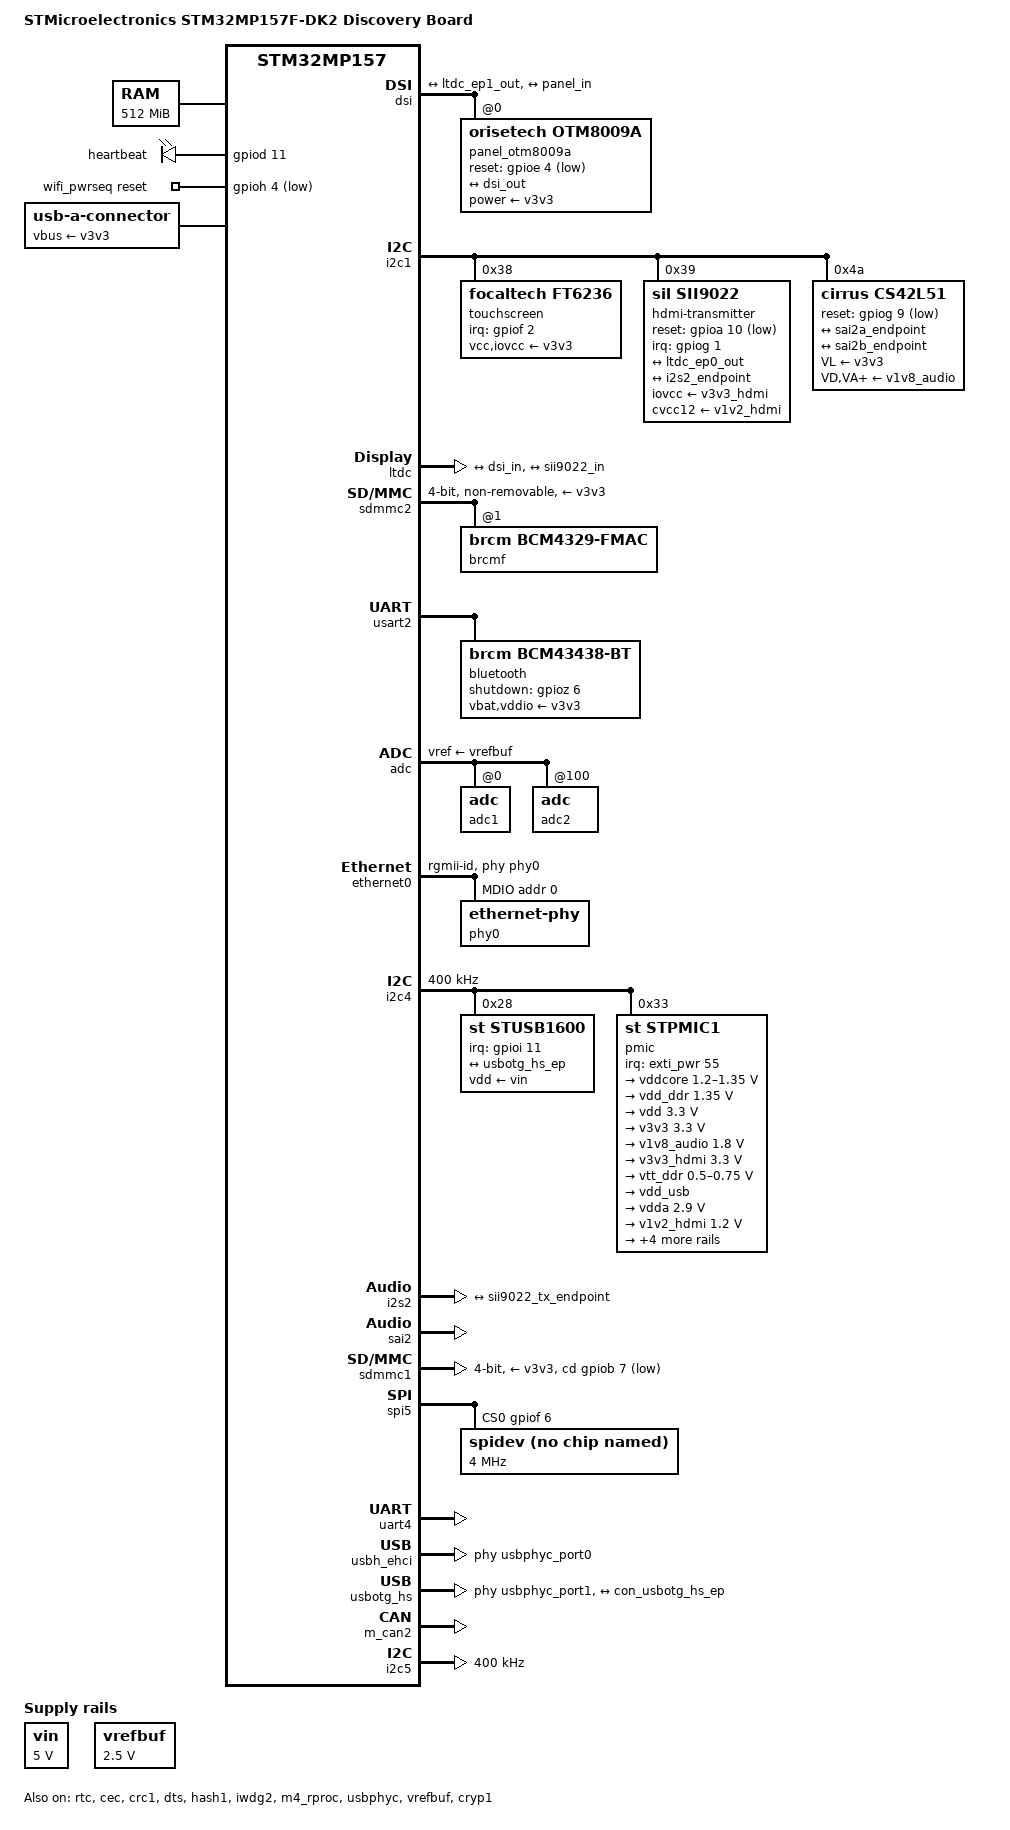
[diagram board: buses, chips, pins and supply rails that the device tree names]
// SPDX-License-Identifier: (GPL-2.0+ OR BSD-3-Clause)
/*
 * Copyright (C) STMicroelectronics 2019 - All Rights Reserved
 * Author: Alexandre Torgue <alexandre.torgue@st.com> for STMicroelectronics.
 */

/dts-v1/;

#include "stm32mp157.dtsi"
#include "stm32mp15-pinctrl-bfh.dtsi"

#include "stm32mp15-m4-srm.dtsi"
#include "stm32mp15-m4-srm-pinctrl.dtsi"

#include <dt-bindings/gpio/gpio.h>
#include <dt-bindings/mfd/st,stpmic1.h>
#include <dt-bindings/rtc/rtc-stm32.h>

/ {
	model = "STMicroelectronics STM32MP157F-DK2 Discovery Board";
	compatible = "st,stm32mp157f-dk2", "st,stm32mp157";

	soc {
		cryp1: cryp@54001000 {
			compatible = "st,stm32mp1-cryp";
			reg = <0x54001000 0x400>;
			interrupts = <GIC_SPI 79 IRQ_TYPE_LEVEL_HIGH>;
			clocks = <&scmi_clk CK_SCMI_CRYP1>;
			resets = <&scmi_reset RST_SCMI_CRYP1>;
			status = "disabled";
		};
	};

	aliases {
		ethernet0 = &ethernet0;
		serial0 = &uart4;
		serial1 = &usart3;
		serial2 = &uart7;
		serial3 = &usart2;
	};

	memory@c0000000 {
		device_type = "memory";
		reg = <0xc0000000 0x20000000>;
	};

	reserved-memory {
		#address-cells = <1>;
		#size-cells = <1>;
		ranges;

		mcuram2: mcuram2@10000000 {
			compatible = "shared-dma-pool";
			reg = <0x10000000 0x40000>;
			no-map;
		};

		vdev0vring0: vdev0vring0@10040000 {
			compatible = "shared-dma-pool";
			reg = <0x10040000 0x1000>;
			no-map;
		};

		vdev0vring1: vdev0vring1@10041000 {
			compatible = "shared-dma-pool";
			reg = <0x10041000 0x1000>;
			no-map;
		};

		vdev0buffer: vdev0buffer@10042000 {
			compatible = "shared-dma-pool";
			reg = <0x10042000 0x4000>;
			no-map;
		};

		mcu_rsc_table: mcu_rsc_table@10048000 {
			compatible = "shared-dma-pool";
			reg = <0x10048000 0x8000>;
			no-map;
		};

		mcuram: mcuram@30000000 {
			compatible = "shared-dma-pool";
			reg = <0x30000000 0x40000>;
			no-map;
		};

		retram: retram@38000000 {
			compatible = "shared-dma-pool";
			reg = <0x38000000 0x10000>;
			no-map;
		};

		gpu_reserved: gpu@d4000000 {
			reg = <0xd4000000 0x4000000>;
			no-map;
		};

		optee@de000000 {
			reg = <0xde000000 0x2000000>;
			no-map;
		};
	};

	led {
		compatible = "gpio-leds";
		led-blue {
			label = "heartbeat";
			gpios = <&gpiod 11 GPIO_ACTIVE_HIGH>;
			linux,default-trigger = "heartbeat";
			default-state = "off";
		};
	};

	sound: sound {
		compatible = "audio-graph-card";
		label = "STM32MP15-DK";
		routing =
			"Playback" , "MCLK",
			"Capture" , "MCLK",
			"MICL" , "Mic Bias";
		dais = <&sai2a_port &sai2b_port &i2s2_port>;
		status = "okay";
	};

	vin: vin {
		compatible = "regulator-fixed";
		regulator-name = "vin";
		regulator-min-microvolt = <5000000>;
		regulator-max-microvolt = <5000000>;
		regulator-always-on;
	};

	chosen {
		#address-cells = <1>;
		#size-cells = <1>;
		ranges;
		stdout-path = "serial0:115200n8";

		framebuffer {
			compatible = "simple-framebuffer";
			clocks = <&rcc LTDC_PX>;
			status = "disabled";
		};
	};

	wifi_pwrseq: wifi-pwrseq {
		compatible = "mmc-pwrseq-simple";
		reset-gpios = <&gpioh 4 GPIO_ACTIVE_LOW>;
	};
};

&cpu0_opp_table {
		opp-800000000 {
			opp-hz = /bits/ 64 <800000000>;
			opp-microvolt = <1350000>;
			opp-supported-hw = <0x2>;
		};
		opp-400000000 {
			opp-hz = /bits/ 64 <400000000>;
			opp-microvolt = <1200000>;
			opp-supported-hw = <0x2>;
			opp-suspend;
		};
};

&cpu_thermal {
	trips {
		cpu-crit {
			temperature = <105000>;
			hysteresis = <0>;
			type = "critical";
		};

		cpu_alert: cpu-alert {
			temperature = <95000>;
			hysteresis = <10000>;
			type = "passive";
		};
	};

	cooling-maps {
		map0 {
			trip = <&cpu_alert>;
			cooling-device = <&cpu0 1 1>;
		};
	};
};

&cryp1 {
	status = "okay";
};

&dsi {
	status = "okay";

	ports {
		port@0 {
			reg = <0>;
			dsi_in: endpoint {
				remote-endpoint = <&ltdc_ep1_out>;
			};
		};

		port@1 {
			reg = <1>;
			dsi_out: endpoint {
				remote-endpoint = <&panel_in>;
			};
		};
	};

	panel_otm8009a: panel-otm8009a@0 {
		compatible = "orisetech,otm8009a";
		reg = <0>;
		reset-gpios = <&gpioe 4 GPIO_ACTIVE_LOW>;
		power-supply = <&v3v3>;
		status = "okay";

		port {
			panel_in: endpoint {
				remote-endpoint = <&dsi_out>;
			};
		};
	};
};

&i2c1 {
	touchscreen@38 {
		compatible = "focaltech,ft6236";
		reg = <0x38>;
		interrupts = <2 2>;
		interrupt-parent = <&gpiof>;
		interrupt-controller;
		touchscreen-size-x = <480>;
		touchscreen-size-y = <800>;
		panel = <&panel_otm8009a>;
		vcc-supply = <&v3v3>;
		iovcc-supply = <&v3v3>;
		status = "okay";
	};
};

&ltdc {
	status = "okay";

	port {
		ltdc_ep1_out: endpoint@1 {
			reg = <1>;
			remote-endpoint = <&dsi_in>;
		};
	};
};

&rtc {
	st,lsco = <RTC_OUT2_RMP>;
	pinctrl-0 = <&rtc_out2_rmp_pins_a>;
	pinctrl-names = "default";
};

/* Wifi */
&sdmmc2 {
	arm,primecell-periphid = <0x10153180>;
	pinctrl-names = "default", "opendrain", "sleep";
	pinctrl-0 = <&sdmmc2_b4_pins_a>;
	pinctrl-1 = <&sdmmc2_b4_od_pins_a>;
	pinctrl-2 = <&sdmmc2_b4_sleep_pins_a>;
	non-removable;
	st,neg-edge;
	bus-width = <4>;
	vmmc-supply = <&v3v3>;
	mmc-pwrseq = <&wifi_pwrseq>;
	#address-cells = <1>;
	#size-cells = <0>;
	status = "okay";

	brcmf: bcrmf@1 {
		reg = <1>;
		compatible = "brcm,bcm4329-fmac";
	};
};

/* Bluetooth */
&usart2 {
	pinctrl-names = "default", "sleep", "idle";
	pinctrl-0 = <&usart2_pins_c>;
	pinctrl-1 = <&usart2_sleep_pins_c>;
	pinctrl-2 = <&usart2_idle_pins_c>;
	uart-has-rtscts;
	status = "okay";

	bluetooth {
		shutdown-gpios = <&gpioz 6 GPIO_ACTIVE_HIGH>;
		compatible = "brcm,bcm43438-bt";
		max-speed = <3000000>;
		vbat-supply = <&v3v3>;
		vddio-supply = <&v3v3>;
	};
};

&adc {
	pinctrl-names = "default";
	pinctrl-0 = <&adc12_usb_cc_pins_a>;
	vdd-supply = <&vdd>;
	vdda-supply = <&vdd>;
	vref-supply = <&vrefbuf>;
	status = "okay";
	adc1: adc@0 {
		/*
		 * Type-C USB_PWR_CC1 & USB_PWR_CC2 on in18 & in19.
		 * Use at least 5 * RC time, e.g. 5 * (Rp + Rd) * C:
		 * 5 * (56 + 47kOhms) * 5pF => 2.5us.
		 * Use arbitrary margin here (e.g. 5us).
		 */
		st,min-sample-time-nsecs = <5000>;
		/* USB Type-C CC1 & CC2 */
		st,adc-channels = <18 19>;
		status = "okay";
	};
	adc2: adc@100 {
		/* USB Type-C CC1 & CC2 */
		st,adc-channels = <18 19>;
		st,min-sample-time-nsecs = <5000>;
		status = "okay";
	};
};

&cec {
	pinctrl-names = "default", "sleep";
	pinctrl-0 = <&cec_pins_b>;
	pinctrl-1 = <&cec_sleep_pins_b>;
	status = "okay";
};

&cpu0{
	cpu-supply = <&vddcore>;
};

&cpu1{
	cpu-supply = <&vddcore>;
};

&crc1 {
	status = "okay";
};

&dma1 {
	sram = <&dma_pool>;
};

&dma2 {
	sram = <&dma_pool>;
};

&dts {
	status = "okay";
};

&ethernet0 {
	status = "okay";
	pinctrl-0 = <&ethernet0_rgmii_pins_a>;
	pinctrl-1 = <&ethernet0_rgmii_sleep_pins_a>;
	pinctrl-names = "default", "sleep";
	phy-mode = "rgmii-id";
	max-speed = <1000>;
	phy-handle = <&phy0>;
	nvmem-cells = <&ethernet_mac_address>;
	nvmem-cell-names = "mac-address";

	mdio0 {
		#address-cells = <1>;
		#size-cells = <0>;
		compatible = "snps,dwmac-mdio";
		phy0: ethernet-phy@0 {
			reg = <0>;
		};
	};
};

&gpu {
	contiguous-area = <&gpu_reserved>;
};

&hash1 {
	status = "okay";
};

&i2c1 {
	pinctrl-names = "default", "sleep";
	pinctrl-0 = <&i2c1_pins_a>;
	pinctrl-1 = <&i2c1_sleep_pins_a>;
	i2c-scl-rising-time-ns = <100>;
	i2c-scl-falling-time-ns = <7>;
	status = "okay";
	/delete-property/dmas;
	/delete-property/dma-names;

	hdmi-transmitter@39 {
		compatible = "sil,sii9022";
		reg = <0x39>;
		iovcc-supply = <&v3v3_hdmi>;
		cvcc12-supply = <&v1v2_hdmi>;
		reset-gpios = <&gpioa 10 GPIO_ACTIVE_LOW>;
		interrupts = <1 IRQ_TYPE_EDGE_FALLING>;
		interrupt-parent = <&gpiog>;
		#sound-dai-cells = <0>;
		status = "okay";

		ports {
			#address-cells = <1>;
			#size-cells = <0>;

			port@0 {
				reg = <0>;
				sii9022_in: endpoint {
					remote-endpoint = <&ltdc_ep0_out>;
				};
			};

			port@3 {
				reg = <3>;
				sii9022_tx_endpoint: endpoint {
					remote-endpoint = <&i2s2_endpoint>;
				};
			};
		};
	};

	cs42l51: cs42l51@4a {
		compatible = "cirrus,cs42l51";
		reg = <0x4a>;
		#sound-dai-cells = <0>;
		VL-supply = <&v3v3>;
		VD-supply = <&v1v8_audio>;
		VA-supply = <&v1v8_audio>;
		VAHP-supply = <&v1v8_audio>;
		reset-gpios = <&gpiog 9 GPIO_ACTIVE_LOW>;
		clocks = <&sai2a>;
		clock-names = "MCLK";
		status = "okay";

		cs42l51_port: port {
			#address-cells = <1>;
			#size-cells = <0>;

			cs42l51_tx_endpoint: endpoint@0 {
				reg = <0>;
				remote-endpoint = <&sai2a_endpoint>;
				frame-master = <&cs42l51_tx_endpoint>;
				bitclock-master = <&cs42l51_tx_endpoint>;
			};

			cs42l51_rx_endpoint: endpoint@1 {
				reg = <1>;
				remote-endpoint = <&sai2b_endpoint>;
				frame-master = <&cs42l51_rx_endpoint>;
				bitclock-master = <&cs42l51_rx_endpoint>;
			};
		};
	};
};

&i2c4 {
	pinctrl-names = "default", "sleep";
	pinctrl-0 = <&i2c4_pins_a>;
	pinctrl-1 = <&i2c4_sleep_pins_a>;
	i2c-scl-rising-time-ns = <185>;
	i2c-scl-falling-time-ns = <20>;
	clock-frequency = <400000>;
	status = "okay";
	/* spare dmas for other usage */
	/delete-property/dmas;
	/delete-property/dma-names;

	stusb1600@28 {
		compatible = "st,stusb1600";
		reg = <0x28>;
		interrupts = <11 IRQ_TYPE_LEVEL_LOW>;
		interrupt-parent = <&gpioi>;
		pinctrl-names = "default";
		pinctrl-0 = <&stusb1600_pins_a>;
		status = "okay";
		vdd-supply = <&vin>;

		connector {
			compatible = "usb-c-connector";
			label = "USB-C";
			power-role = "dual";
			typec-power-opmode = "default";

			port {
				con_usbotg_hs_ep: endpoint {
					remote-endpoint = <&usbotg_hs_ep>;
				};
			};
		};
	};

	pmic: stpmic@33 {
		compatible = "st,stpmic1";
		reg = <0x33>;
		interrupts-extended = <&exti_pwr 55 IRQ_TYPE_EDGE_FALLING>;
		interrupt-controller;
		#interrupt-cells = <2>;
		status = "okay";

		regulators {
			compatible = "st,stpmic1-regulators";
			buck1-supply = <&vin>;
			buck2-supply = <&vin>;
			buck3-supply = <&vin>;
			buck4-supply = <&vin>;
			ldo1-supply = <&v3v3>;
			ldo2-supply = <&vin>;
			ldo3-supply = <&vdd_ddr>;
			ldo4-supply = <&vin>;
			ldo5-supply = <&vin>;
			ldo6-supply = <&v3v3>;
			vref_ddr-supply = <&vin>;
			boost-supply = <&vin>;
			pwr_sw1-supply = <&bst_out>;
			pwr_sw2-supply = <&bst_out>;

			vddcore: buck1 {
				regulator-name = "vddcore";
				regulator-min-microvolt = <1200000>;
				regulator-max-microvolt = <1350000>;
				regulator-always-on;
				regulator-initial-mode = <0>;
				regulator-over-current-protection;
			};

			vdd_ddr: buck2 {
				regulator-name = "vdd_ddr";
				regulator-min-microvolt = <1350000>;
				regulator-max-microvolt = <1350000>;
				regulator-always-on;
				regulator-initial-mode = <0>;
				regulator-over-current-protection;
			};

			vdd: buck3 {
				regulator-name = "vdd";
				regulator-min-microvolt = <3300000>;
				regulator-max-microvolt = <3300000>;
				regulator-always-on;
				st,mask-reset;
				regulator-initial-mode = <0>;
				regulator-over-current-protection;
			};

			v3v3: buck4 {
				regulator-name = "v3v3";
				regulator-min-microvolt = <3300000>;
				regulator-max-microvolt = <3300000>;
				regulator-always-on;
				regulator-over-current-protection;
				regulator-initial-mode = <0>;
			};

			v1v8_audio: ldo1 {
				regulator-name = "v1v8_audio";
				regulator-min-microvolt = <1800000>;
				regulator-max-microvolt = <1800000>;
				regulator-always-on;
				interrupts = <IT_CURLIM_LDO1 0>;
			};

			v3v3_hdmi: ldo2 {
				regulator-name = "v3v3_hdmi";
				regulator-min-microvolt = <3300000>;
				regulator-max-microvolt = <3300000>;
				regulator-always-on;
				interrupts = <IT_CURLIM_LDO2 0>;
			};

			vtt_ddr: ldo3 {
				regulator-name = "vtt_ddr";
				regulator-min-microvolt = <500000>;
				regulator-max-microvolt = <750000>;
				regulator-always-on;
				regulator-over-current-protection;
			};

			vdd_usb: ldo4 {
				regulator-name = "vdd_usb";
				interrupts = <IT_CURLIM_LDO4 0>;
			};

			vdda: ldo5 {
				regulator-name = "vdda";
				regulator-min-microvolt = <2900000>;
				regulator-max-microvolt = <2900000>;
				interrupts = <IT_CURLIM_LDO5 0>;
				regulator-boot-on;
			};

			v1v2_hdmi: ldo6 {
				regulator-name = "v1v2_hdmi";
				regulator-min-microvolt = <1200000>;
				regulator-max-microvolt = <1200000>;
				regulator-always-on;
				interrupts = <IT_CURLIM_LDO6 0>;
			};

			vref_ddr: vref_ddr {
				regulator-name = "vref_ddr";
				regulator-always-on;
			};

			bst_out: boost {
				regulator-name = "bst_out";
				interrupts = <IT_OCP_BOOST 0>;
			};

			vbus_otg: pwr_sw1 {
				regulator-name = "vbus_otg";
				interrupts = <IT_OCP_OTG 0>;
			};

			vbus_sw: pwr_sw2 {
				regulator-name = "vbus_sw";
				interrupts = <IT_OCP_SWOUT 0>;
				regulator-active-discharge = <1>;
			};
		};

		onkey {
			compatible = "st,stpmic1-onkey";
			interrupts = <IT_PONKEY_F 0>, <IT_PONKEY_R 0>;
			interrupt-names = "onkey-falling", "onkey-rising";
			power-off-time-sec = <10>;
			status = "okay";
		};

		watchdog {
			compatible = "st,stpmic1-wdt";
			status = "disabled";
		};
	};
};

&i2s2 {
	clocks = <&rcc SPI2>, <&rcc SPI2_K>, <&rcc PLL3_Q>, <&rcc PLL3_R>;
	clock-names = "pclk", "i2sclk", "x8k", "x11k";
	pinctrl-names = "default", "sleep";
	pinctrl-0 = <&i2s2_pins_a>;
	pinctrl-1 = <&i2s2_sleep_pins_a>;
	status = "okay";

	i2s2_port: port {
		i2s2_endpoint: endpoint {
			remote-endpoint = <&sii9022_tx_endpoint>;
			format = "i2s";
			mclk-fs = <256>;
		};
	};
};

&ipcc {
	status = "okay";
};

&iwdg2 {
	timeout-sec = <32>;
	status = "okay";
};

&ltdc {
	pinctrl-names = "default", "sleep";
	pinctrl-0 = <&ltdc_pins_a>;
	pinctrl-1 = <&ltdc_sleep_pins_a>;
	status = "okay";

	port {
		ltdc_ep0_out: endpoint@0 {
			reg = <0>;
			remote-endpoint = <&sii9022_in>;
		};
	};
};

&m4_rproc {
	memory-region = <&retram>, <&mcuram>, <&mcuram2>, <&vdev0vring0>,
			<&vdev0vring1>, <&vdev0buffer>, <&mcu_rsc_table>;
	mboxes = <&ipcc 0>, <&ipcc 1>, <&ipcc 2>, <&ipcc 3>;
	mbox-names = "vq0", "vq1", "shutdown", "detach";
	interrupt-parent = <&exti>;
	interrupts = <68 1>;
	wakeup-source;
	status = "okay";
};

&pwr_regulators {
	vdd-supply = <&vdd>;
	vdd_3v3_usbfs-supply = <&vdd_usb>;
};

&rtc {
	status = "okay";
};

&sai2 {
	clocks = <&rcc SAI2>, <&rcc PLL3_Q>, <&rcc PLL3_R>;
	clock-names = "pclk", "x8k", "x11k";
	pinctrl-names = "default", "sleep";
	pinctrl-0 = <&sai2a_pins_a>, <&sai2b_pins_b>;
	pinctrl-1 = <&sai2a_sleep_pins_a>, <&sai2b_sleep_pins_b>;
	status = "okay";

	sai2a: audio-controller@4400b004 {
		#clock-cells = <0>;
		dma-names = "tx";
		status = "okay";

		sai2a_port: port {
			sai2a_endpoint: endpoint {
				remote-endpoint = <&cs42l51_tx_endpoint>;
				format = "i2s";
				mclk-fs = <256>;
				dai-tdm-slot-num = <2>;
				dai-tdm-slot-width = <32>;
			};
		};
	};

	sai2b: audio-controller@4400b024 {
		dma-names = "rx";
		st,sync = <&sai2a 2>;
		clocks = <&rcc SAI2_K>, <&sai2a>;
		clock-names = "sai_ck", "MCLK";
		status = "okay";

		sai2b_port: port {
			sai2b_endpoint: endpoint {
				remote-endpoint = <&cs42l51_rx_endpoint>;
				format = "i2s";
				mclk-fs = <256>;
				dai-tdm-slot-num = <2>;
				dai-tdm-slot-width = <32>;
			};
		};
	};
};

&sdmmc1 {
	pinctrl-names = "default", "opendrain", "sleep";
	pinctrl-0 = <&sdmmc1_b4_pins_a>;
	pinctrl-1 = <&sdmmc1_b4_od_pins_a>;
	pinctrl-2 = <&sdmmc1_b4_sleep_pins_a>;
	cd-gpios = <&gpiob 7 (GPIO_ACTIVE_LOW | GPIO_PULL_UP)>;
	disable-wp;
	st,neg-edge;
	bus-width = <4>;
	vmmc-supply = <&v3v3>;
	status = "okay";
};

&sdmmc3 {
	pinctrl-names = "default", "opendrain", "sleep";
	pinctrl-0 = <&sdmmc3_b4_pins_a>;
	pinctrl-1 = <&sdmmc3_b4_od_pins_a>;
	pinctrl-2 = <&sdmmc3_b4_sleep_pins_a>;
	broken-cd;
	st,neg-edge;
	bus-width = <4>;
	vmmc-supply = <&v3v3>;
	status = "disabled";
};

&spi4 {
	pinctrl-names = "default", "sleep";
	pinctrl-0 = <&spi4_pins_b>;
	pinctrl-1 = <&spi4_sleep_pins_b>;
	status = "disabled";
};

&spi5 {
	pinctrl-names = "default", "sleep";
	pinctrl-0 = <&spi5_pins_a>;
	pinctrl-1 = <&spi5_sleep_pins_a>;
	status = "disabled";
};

&sram {
	dma_pool: dma_pool@0 {
		reg = <0x50000 0x10000>;
		pool;
	};
};

&timers1 {
	/* spare dmas for other usage */
	/delete-property/dmas;
	/delete-property/dma-names;
	status = "disabled";
	pwm {
		pinctrl-0 = <&pwm1_pins_a>;
		pinctrl-1 = <&pwm1_sleep_pins_a>;
		pinctrl-names = "default", "sleep";
		status = "okay";
	};
	timer@0 {
		status = "okay";
	};
};

&timers3 {
	/delete-property/dmas;
	/delete-property/dma-names;
	status = "disabled";
	pwm {
		pinctrl-0 = <&pwm3_pins_a>;
		pinctrl-1 = <&pwm3_sleep_pins_a>;
		pinctrl-names = "default", "sleep";
		status = "okay";
	};
	timer@2 {
		status = "okay";
	};
};

&timers4 {
	/delete-property/dmas;
	/delete-property/dma-names;
	status = "disabled";
	pwm {
		pinctrl-0 = <&pwm4_pins_a &pwm4_pins_b>;
		pinctrl-1 = <&pwm4_sleep_pins_a &pwm4_sleep_pins_b>;
		pinctrl-names = "default", "sleep";
		status = "okay";
	};
	timer@3 {
		status = "okay";
	};
};

&timers5 {
	/delete-property/dmas;
	/delete-property/dma-names;
	status = "disabled";
	pwm {
		pinctrl-0 = <&pwm5_pins_a>;
		pinctrl-1 = <&pwm5_sleep_pins_a>;
		pinctrl-names = "default", "sleep";
		status = "okay";
	};
	timer@4 {
		status = "okay";
	};
};

&timers6 {
	/delete-property/dmas;
	/delete-property/dma-names;
	status = "disabled";
	timer@5 {
		status = "okay";
	};
};

&timers12 {
	/delete-property/dmas;
	/delete-property/dma-names;
	status = "disabled";
	pwm {
		pinctrl-0 = <&pwm12_pins_a>;
		pinctrl-1 = <&pwm12_sleep_pins_a>;
		pinctrl-names = "default", "sleep";
		status = "okay";
	};
	timer@11 {
		status = "okay";
	};
};

&uart4 {
	pinctrl-names = "default", "sleep", "idle";
	pinctrl-0 = <&uart4_pins_a>;
	pinctrl-1 = <&uart4_sleep_pins_a>;
	pinctrl-2 = <&uart4_idle_pins_a>;
	/delete-property/dmas;
	/delete-property/dma-names;
	status = "okay";
};

&uart7 {
	pinctrl-names = "default", "sleep", "idle";
	pinctrl-0 = <&uart7_pins_c>;
	pinctrl-1 = <&uart7_sleep_pins_c>;
	pinctrl-2 = <&uart7_idle_pins_c>;
	/delete-property/dmas;
	/delete-property/dma-names;
	status = "disabled";
};

&usart3 {
	pinctrl-names = "default", "sleep", "idle";
	pinctrl-0 = <&usart3_pins_c>;
	pinctrl-1 = <&usart3_sleep_pins_c>;
	pinctrl-2 = <&usart3_idle_pins_c>;
	uart-has-rtscts;
	status = "disabled";
};

&usbh_ehci {
	phys = <&usbphyc_port0>;
	status = "okay";
};

&usbotg_hs {
	phys = <&usbphyc_port1 0>;
	phy-names = "usb2-phy";
	usb-role-switch;
	status = "okay";

	port {
		usbotg_hs_ep: endpoint {
			remote-endpoint = <&con_usbotg_hs_ep>;
		};
	};
};

&usbphyc {
	status = "okay";
};

&usbphyc_port0 {
	phy-supply = <&vdd_usb>;
	st,tune-hs-dc-level = <2>;
	st,enable-fs-rftime-tuning;
	st,enable-hs-rftime-reduction;
	st,trim-hs-current = <15>;
	st,trim-hs-impedance = <1>;
	st,tune-squelch-level = <3>;
	st,tune-hs-rx-offset = <2>;
	st,no-lsfs-sc;

	/*
	 * Hack to keep hub active until all connected devices are suspended
	 * otherwise the hub will be powered off as soon as the v3v3 is disabled
	 * and it can disturb connected devices.
	 */
	connector {
		compatible = "usb-a-connector";
		vbus-supply = <&v3v3>;
	};
};

&usbphyc_port1 {
	phy-supply = <&vdd_usb>;
	st,tune-hs-dc-level = <2>;
	st,enable-fs-rftime-tuning;
	st,enable-hs-rftime-reduction;
	st,trim-hs-current = <15>;
	st,trim-hs-impedance = <1>;
	st,tune-squelch-level = <3>;
	st,tune-hs-rx-offset = <2>;
	st,no-lsfs-sc;
};

&vrefbuf {
	regulator-min-microvolt = <2500000>;
	regulator-max-microvolt = <2500000>;
	vdda-supply = <&vdd>;
	status = "okay";
};

/***************************************************************************************************/

&adc {
	/* ANA0, ANA1 are dedicated pins and don't need pinctrl: only in6. */
	pinctrl-names = "default";
	pinctrl-0 = <&adc12_ain_pins_a>;		/* PC3 (ADC1_IN13), PF12 (ADC1_IN6), PF13 (ADC2_IN2), PF14 (ADC2_IN6),
	vdd-supply = <&vdd>;
	vdda-supply = <&vdda>;				/* Supply vdda pin by using a PMIC regulator
	vref-supply = <&vdda>;				/* Use VREFBUF (It needs to be enabled as well) */
	status = "okay";

	adc1: adc@0 {
		st,adc-channels = <0 1 6>;
		st,min-sample-time-nsecs = <1000>;
		status = "okay";
	};

	adc2: adc@100 {
		st,adc-channels = <0 1 2>;
		st,min-sample-time-nsecs = <1000>;
		status = "okay";
	};
};

&spi5 {
    pinctrl-names = "default", "sleep";
    pinctrl-0 = <&spi5_pins_a>;
    pinctrl-1 = <&spi5_sleep_pins_a>;
    cs-gpios = <&gpiof 6 0>;    
    status = "okay";
 
    spidev@0{
        compatible = "stm32,spidev";
        reg = <0>;
        spi-max-frequency = <4000000>;
	#address-cells = <1>;
	#size-cells = <0>;        
    };
};


&m_can2 {
	pinctrl-names = "default", "sleep";
	pinctrl-0 = <&m_can2_pins_a>;
	pinctrl-1 = <&m_can2_sleep_pins_a>;
	status = "okay";
};

&i2c5 {
	pinctrl-names = "default", "sleep";
	pinctrl-0 = <&i2c5_pins_a>;
	pinctrl-1 = <&i2c5_sleep_pins_a>;
	i2c-scl-rising-time-ns = <185>;
	i2c-scl-falling-time-ns = <20>;
	clock-frequency = <400000>;
	/* spare dmas for other usage */
	/delete-property/dmas;
	/delete-property/dma-names;
	status = "okay";		
};
